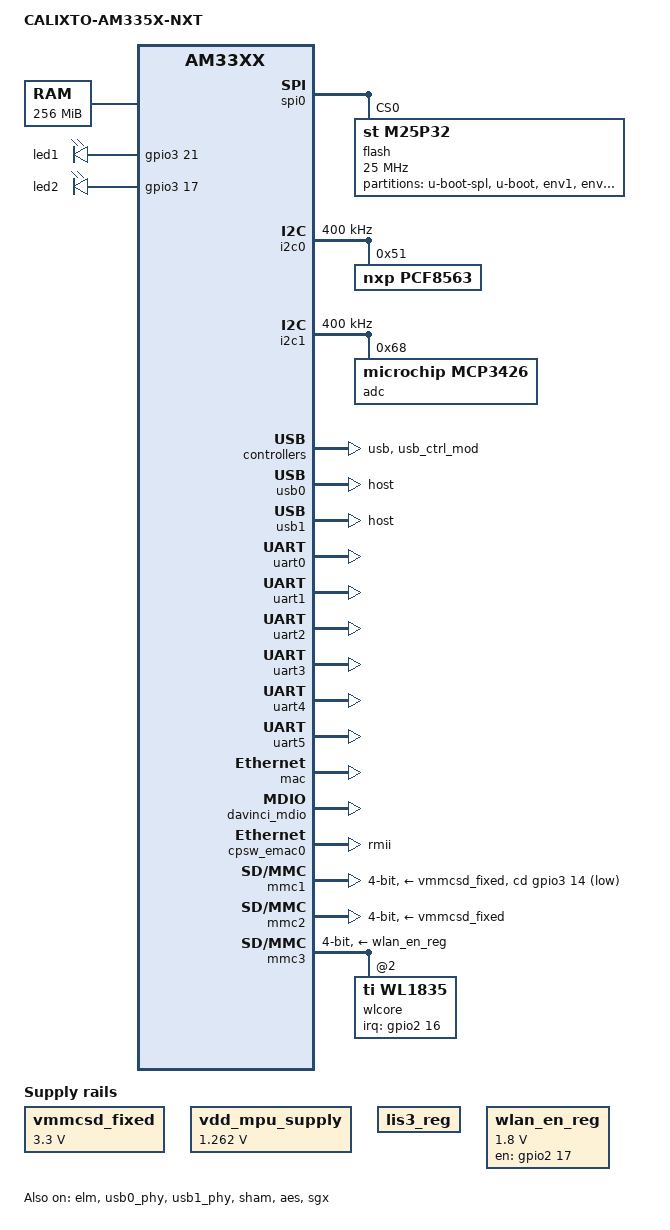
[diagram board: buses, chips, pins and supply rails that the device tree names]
/*
 * Copyright (C) 2020 Calixto Systems Pvt Ltd - http://www.calixto.com/
 *
 * This program is free software; you can redistribute it and/or modify
 * it under the terms of the GNU General Public License version 2 as
 * published by the Free Software Foundation.
 */

/*
 * AM335x CALIXTO STAMP EVM
 * http:// http://www.calixto.co.in/
 * Modified from am335x-evmsk
 * Modified by Vipin Vijayan <vipin.v@calixto.in>
 */

/dts-v1/;

#include "am33xx.dtsi"
#include <dt-bindings/pwm/pwm.h>
#include <dt-bindings/interrupt-controller/irq.h>

/ {
	model = "CALIXTO-AM335X-NXT";
	compatible = "ti,am335x-calixto-nxt", "ti,am33xx";

	cpus {
		cpu@0 {
			cpu0-supply = <&vdd_mpu_supply>;
		};
	};

	memory@80000000 {
		device_type = "memory";
		reg = <0x80000000 0x10000000>; /* 256 MB */
	};

	chosen {
		stdout-path = &uart0;
	};

	vmmcsd_fixed: fixedregulator-sd {
		compatible = "regulator-fixed";
		regulator-name = "vmmcsd_fixed";
		regulator-min-microvolt = <3300000>;
		regulator-max-microvolt = <3300000>;
		enable-active-high;
	};

	vdd_mpu_supply: fixedregulator-mpu {
		compatible = "regulator-fixed";
		regulator-name = "vdd_mpu_supply";
		regulator-min-microvolt = <1262000>;
		regulator-max-microvolt = <1262000>;
		regulator-boot-on;
	};

	lis3_reg: fixedregulator0 {
		compatible = "regulator-fixed";
		regulator-name = "lis3_reg";
		regulator-boot-on;
	};

	wlan_en_reg: fixedregulator@13 {
		compatible = "regulator-fixed";
		regulator-name = "wlan-en-regulator";
		regulator-min-microvolt = <1800000>;
		regulator-max-microvolt = <1800000>;

		/* WL_EN */
		gpio = <&gpio2 17 GPIO_ACTIVE_HIGH>;
		enable-active-high;
		
		/* startup-delay-us = <70000>; */

	};
	leds {
		pinctrl-names = "default";
		pinctrl-0 = <&user_leds_s0>;

		compatible = "gpio-leds";

		led@1 {
			label = "led1";
			gpios = <&gpio3 21 GPIO_ACTIVE_HIGH>;
			linux,default-trigger = "heartbeat";
			default-state = "on";
		};
		led@2 {
			label = "led2";
			gpios = <&gpio3 17 GPIO_ACTIVE_HIGH>;
			linux,default-trigger = "heartbeat";
			default-state = "on";
		};
	};

	gpio_buttons: gpio_buttons0 {
		compatible = "gpio-keys";
		#address-cells = <1>;
		#size-cells = <0>;

	};


};

&am33xx_pinmux {
	pinctrl-names = "default";
	pinctrl-0 = <&clkout2_pin>;

	lcd_pins_default: lcd_pins_default {
		pinctrl-single,pins = <
			AM33XX_IOPAD(0x8a0, PIN_OUTPUT | MUX_MODE0)	/* lcd_data0.lcd_data0 */
			AM33XX_IOPAD(0x8a4, PIN_OUTPUT | MUX_MODE0)	/* lcd_data1.lcd_data1 */
			AM33XX_IOPAD(0x8a8, PIN_OUTPUT | MUX_MODE0)	/* lcd_data2.lcd_data2 */
			AM33XX_IOPAD(0x8ac, PIN_OUTPUT | MUX_MODE0)	/* lcd_data3.lcd_data3 */
			AM33XX_IOPAD(0x8b0, PIN_OUTPUT | MUX_MODE0)	/* lcd_data4.lcd_data4 */
			AM33XX_IOPAD(0x8b4, PIN_OUTPUT | MUX_MODE0)	/* lcd_data5.lcd_data5 */
			AM33XX_IOPAD(0x8b8, PIN_OUTPUT | MUX_MODE0)	/* lcd_data6.lcd_data6 */
			AM33XX_IOPAD(0x8bc, PIN_OUTPUT | MUX_MODE0)	/* lcd_data7.lcd_data7 */
			AM33XX_IOPAD(0x8c0, PIN_OUTPUT | MUX_MODE0)	/* lcd_data8.lcd_data8 */
			AM33XX_IOPAD(0x8c4, PIN_OUTPUT | MUX_MODE0)	/* lcd_data9.lcd_data9 */
			AM33XX_IOPAD(0x8c8, PIN_OUTPUT | MUX_MODE0)	/* lcd_data10.lcd_data10 */
			AM33XX_IOPAD(0x8cc, PIN_OUTPUT | MUX_MODE0)	/* lcd_data11.lcd_data11 */
			AM33XX_IOPAD(0x8d0, PIN_OUTPUT | MUX_MODE0)	/* lcd_data12.lcd_data12 */
			AM33XX_IOPAD(0x8d4, PIN_OUTPUT | MUX_MODE0)	/* lcd_data13.lcd_data13 */
			AM33XX_IOPAD(0x8d8, PIN_OUTPUT | MUX_MODE0)	/* lcd_data14.lcd_data14 */
			AM33XX_IOPAD(0x8dc, PIN_OUTPUT | MUX_MODE0)	/* lcd_data15.lcd_data15 */
			AM33XX_IOPAD(0x8e0, PIN_OUTPUT | MUX_MODE0)	/* lcd_vsync.lcd_vsync */
			AM33XX_IOPAD(0x8e4, PIN_OUTPUT | MUX_MODE0)	/* lcd_hsync.lcd_hsync */
			AM33XX_IOPAD(0x8e8, PIN_OUTPUT | MUX_MODE0)	/* lcd_pclk.lcd_pclk */
			AM33XX_IOPAD(0x8ec, PIN_OUTPUT | MUX_MODE0)	/* lcd_ac_bias_en.lcd_ac_bias_en */
		>;
	};

	lcd_pins_sleep: lcd_pins_sleep {
		pinctrl-single,pins = <
			AM33XX_IOPAD(0x8a0, PULL_DISABLE | MUX_MODE7)	/* lcd_data0.lcd_data0 */
			AM33XX_IOPAD(0x8a4, PULL_DISABLE | MUX_MODE7)	/* lcd_data1.lcd_data1 */
			AM33XX_IOPAD(0x8a8, PULL_DISABLE | MUX_MODE7)	/* lcd_data2.lcd_data2 */
			AM33XX_IOPAD(0x8ac, PULL_DISABLE | MUX_MODE7)	/* lcd_data3.lcd_data3 */
			AM33XX_IOPAD(0x8b0, PULL_DISABLE | MUX_MODE7)	/* lcd_data4.lcd_data4 */
			AM33XX_IOPAD(0x8b4, PULL_DISABLE | MUX_MODE7)	/* lcd_data5.lcd_data5 */
			AM33XX_IOPAD(0x8b8, PULL_DISABLE | MUX_MODE7)	/* lcd_data6.lcd_data6 */
			AM33XX_IOPAD(0x8bc, PULL_DISABLE | MUX_MODE7)	/* lcd_data7.lcd_data7 */
			AM33XX_IOPAD(0x8c0, PULL_DISABLE | MUX_MODE7)	/* lcd_data8.lcd_data8 */
			AM33XX_IOPAD(0x8c4, PULL_DISABLE | MUX_MODE7)	/* lcd_data9.lcd_data9 */
			AM33XX_IOPAD(0x8c8, PULL_DISABLE | MUX_MODE7)	/* lcd_data10.lcd_data10 */
			AM33XX_IOPAD(0x8cc, PULL_DISABLE | MUX_MODE7)	/* lcd_data11.lcd_data11 */
			AM33XX_IOPAD(0x8d0, PULL_DISABLE | MUX_MODE7)	/* lcd_data12.lcd_data12 */
			AM33XX_IOPAD(0x8d4, PULL_DISABLE | MUX_MODE7)	/* lcd_data13.lcd_data13 */
			AM33XX_IOPAD(0x8d8, PULL_DISABLE | MUX_MODE7)	/* lcd_data14.lcd_data14 */
			AM33XX_IOPAD(0x8dc, PULL_DISABLE | MUX_MODE7)	/* lcd_data15.lcd_data15 */
			AM33XX_IOPAD(0x8e0, PIN_INPUT_PULLDOWN | MUX_MODE7)	/* lcd_vsync.lcd_vsync */
			AM33XX_IOPAD(0x8e4, PIN_INPUT_PULLDOWN | MUX_MODE7)	/* lcd_hsync.lcd_hsync */
			AM33XX_IOPAD(0x8e8, PIN_INPUT_PULLDOWN | MUX_MODE7)	/* lcd_pclk.lcd_pclk */
			AM33XX_IOPAD(0x8ec, PIN_INPUT_PULLDOWN | MUX_MODE7)	/* lcd_ac_bias_en.lcd_ac_bias_en */
		>;
	};


	user_leds_s0: user_leds_s0 {
		pinctrl-single,pins = <
			AM33XX_IOPAD(0x994, PIN_OUTPUT_PULLDOWN | MUX_MODE7)	/* (B13) mcasp0_fsx.gpio3[15] 3.7V EN*/
			AM33XX_IOPAD(0x99C, PIN_OUTPUT_PULLDOWN | MUX_MODE7)	/* (C12) mcasp0_ahclkr.gpio3[17] LED2*/
			AM33XX_IOPAD(0x9AC, PIN_OUTPUT_PULLDOWN | MUX_MODE7)	/* (A14) mcasp0_ahclkx.gpio3[21] LED1*/
			AM33XX_IOPAD(0x8E0, PIN_OUTPUT_PULLDOWN | MUX_MODE7)	/* (U5) lcd_vsync.gpio2[22] Relay 1*/
			AM33XX_IOPAD(0x8E4, PIN_OUTPUT_PULLDOWN | MUX_MODE7)	/* (R5) lcd_hsync.gpio2[23] Relay 2*/

		>;
	};

	gpio_keys_s0: gpio_keys_s0 {
		pinctrl-single,pins = <
			AM33XX_IOPAD(0x894, PIN_INPUT_PULLDOWN | MUX_MODE7)	/* gpmc_oen_ren.gpio2_3 */

		>;
	};

	i2c0_pins: pinmux_i2c0_pins {
		pinctrl-single,pins = <
			AM33XX_IOPAD(0x988, PIN_INPUT_PULLUP | MUX_MODE0)	/* i2c0_sda.i2c0_sda */
			AM33XX_IOPAD(0x98c, PIN_INPUT_PULLUP | MUX_MODE0)	/* i2c0_scl.i2c0_scl */
			AM33XX_IOPAD(0x934, PIN_INPUT | MUX_MODE7)	       /* (L17) gmii1_rxd3.gpio2[18] */
		>;
	};

	i2c1_pins: pinmux_i2c1_pins {
		pinctrl-single,pins = <
			AM33XX_IOPAD(0x96C, PIN_INPUT_PULLUP | MUX_MODE0)  /* (E17) uart0_rtsn.I2C1_SCL */
			AM33XX_IOPAD(0x968, PIN_INPUT_PULLUP | MUX_MODE0) /* (E18) uart0_ctsn.I2C1_SDA */
		>;
	};


	spi0_pins: pinmux_spi0_pins {
		pinctrl-single,pins = <
			AM33XX_IOPAD(0x950, PIN_INPUT_PULLUP | MUX_MODE0 ) /* (A17) spi0_sclk.spi0_sclk */
			AM33XX_IOPAD(0x954, PIN_INPUT_PULLUP | MUX_MODE0 ) /* (B17) spi0_d0.spi0_d0 */
			AM33XX_IOPAD(0x958, PIN_OUTPUT_PULLUP | MUX_MODE0 ) /* (B16) spi0_d1.spi0_d1 */
			AM33XX_IOPAD(0x95c, PIN_OUTPUT_PULLUP | MUX_MODE0 ) /* (A16) spi0_cs0.spi0_cs0 */
		>;
	};

	uart0_pins: pinmux_uart0_pins {
		pinctrl-single,pins = <
			AM33XX_IOPAD(0x970, PIN_INPUT_PULLUP | MUX_MODE0)	/* uart0_rxd.uart0_rxd */
			AM33XX_IOPAD(0x974, PIN_OUTPUT_PULLDOWN | MUX_MODE0)	/* uart0_txd.uart0_txd */
		>;
	};

	uart1_pins: pinmux_uart1_pins {
		pinctrl-single,pins = <
			AM33XX_IOPAD(0x980, PIN_INPUT_PULLUP    | MUX_MODE0 ) 	  /* (D16) uart1_rxd.uart1_rxd */
			AM33XX_IOPAD(0x984, PIN_OUTPUT_PULLDOWN | MUX_MODE0 ) /* (D15) uart1_txd.uart1_txd */
			AM33XX_IOPAD(0x978, PIN_INPUT_PULLUP    | MUX_MODE0 )    /* (D18) uart1_ctsn.uart1_ctsn */
			AM33XX_IOPAD(0x97c, PIN_OUTPUT_PULLDOWN | MUX_MODE0 ) /* (D17) uart1_rtsn.uart1_rtsn */
			AM33XX_IOPAD(0x9a0, PIN_OUTPUT_PULLDOWN | MUX_MODE7 ) /* (B12) mcasp0_aclkr.gpio3[18] 3G RESET*/
			AM33XX_IOPAD(0x8d0, PIN_OUTPUT_PULLDOWN | MUX_MODE7 )  /* (V2) lcd_data12.gpio0[8] 3G ON-OFF*/
		>;
	};

	uart2_pins: pinmux_uart2_pins {
		pinctrl-single,pins = <
			AM33XX_IOPAD(0x92c, PIN_INPUT_PULLUP | MUX_MODE1 )    /* (K18) gmii1_txclk.uart2_rxd RS232_1_RX*/
			AM33XX_IOPAD(0x930, PIN_OUTPUT_PULLDOWN | MUX_MODE1 ) /* (L18) gmii1_rxclk.uart2_txd RS232_1_TX*/
		>;
	};

	uart3_pins: pinmux_uart3_pins {
		pinctrl-single,pins = <
			AM33XX_IOPAD(0x960, PIN_INPUT_PULLUP | MUX_MODE1 )    /* (C15) spi0_cs1.uart3_rxd   RS485_1_RX*/
			AM33XX_IOPAD(0x938, PIN_OUTPUT_PULLDOWN | MUX_MODE1 ) /* (L16) gmii1_rxd2.uart3_txd RS485_1_TX*/
		>;
	};

	uart4_pins: pinmux_uart4_pins {
		pinctrl-single,pins = <
			AM33XX_IOPAD(0x91c, PIN_INPUT_PULLUP | MUX_MODE3 )    /* (J18) gmii1_txd3.uart4_rxd RS485_2_RX*/
			AM33XX_IOPAD(0x920, PIN_OUTPUT_PULLDOWN | MUX_MODE3 ) /* (K15) gmii1_txd2.uart4_txd RS485_2_TX*/
		>;
	};

	uart5_pins: pinmux_uart5_pins {
		pinctrl-single,pins = <
			AM33XX_IOPAD(0x8c4, PIN_INPUT_PULLUP | MUX_MODE4 )    /* (U2) lcd_data9.uart5_rxd RS232_2_RX*/
			AM33XX_IOPAD(0x8c0, PIN_OUTPUT_PULLDOWN | MUX_MODE4 ) /* (U1) lcd_data8.uart5_txd RS232_2_TX*/
		>;
	};

	clkout2_pin: pinmux_clkout2_pin {
		pinctrl-single,pins = <
			AM33XX_IOPAD(0x9b4, PIN_OUTPUT_PULLDOWN | MUX_MODE3)	/* xdma_event_intr1.clkout2 */
		>;
	};


	cpsw_default: cpsw_default {
		pinctrl-single,pins = <
			/* Slave 1 */
			/* Slave 1 */
			AM33XX_IOPAD(0x90c, PIN_INPUT_PULLDOWN  | MUX_MODE1)  /* mii1_crs.rmii1_crs_dv */
			AM33XX_IOPAD(0x910, PIN_INPUT_PULLDOWN  | MUX_MODE1)  /* mii1_rxerr.mii1_rxerr */
			AM33XX_IOPAD(0x914, PIN_OUTPUT_PULLDOWN | MUX_MODE1)  /* mii1_txen.mii1_txen   */
			AM33XX_IOPAD(0x924, PIN_OUTPUT_PULLDOWN | MUX_MODE1)  /* mii1_txd1.mii1_txd1   */
			AM33XX_IOPAD(0x928, PIN_OUTPUT_PULLDOWN | MUX_MODE1)  /* mii1_txd0.mii1_txd0   */
			AM33XX_IOPAD(0x93c, PIN_INPUT_PULLDOWN  | MUX_MODE1)  /* mii1_rxd1.mii1_rxd2   */
			AM33XX_IOPAD(0x940, PIN_INPUT_PULLDOWN  | MUX_MODE1)  /* mii1_rxd0.mii1_rxd0   */
			AM33XX_IOPAD(0x944, PIN_INPUT_PULLDOWN  | MUX_MODE0)  /* rmii1_refclk.rmii1_refclk */
		>;
	};

	cpsw_sleep: cpsw_sleep {
		pinctrl-single,pins = <
			/* Slave 1 reset value */
			AM33XX_IOPAD(0x90c, PIN_INPUT_PULLDOWN | MUX_MODE7)
			AM33XX_IOPAD(0x910, PIN_INPUT_PULLDOWN | MUX_MODE7)
			AM33XX_IOPAD(0x914, PIN_INPUT_PULLDOWN | MUX_MODE7)
			AM33XX_IOPAD(0x924, PIN_INPUT_PULLDOWN | MUX_MODE7)
			AM33XX_IOPAD(0x928, PIN_INPUT_PULLDOWN | MUX_MODE7)
			AM33XX_IOPAD(0x93c, PIN_INPUT_PULLDOWN | MUX_MODE7)
			AM33XX_IOPAD(0x940, PIN_INPUT_PULLDOWN | MUX_MODE7)
			AM33XX_IOPAD(0x944, PIN_INPUT_PULLDOWN | MUX_MODE7)
		>;
	};

	davinci_mdio_default: davinci_mdio_default {
		pinctrl-single,pins = <
			/* MDIO */
			AM33XX_IOPAD(0x948, PIN_INPUT_PULLUP | SLEWCTRL_FAST | MUX_MODE0)	/* mdio_data.mdio_data */
			AM33XX_IOPAD(0x94c, PIN_OUTPUT_PULLUP | MUX_MODE0)			/* mdio_clk.mdio_clk */
		>;
	};

	davinci_mdio_sleep: davinci_mdio_sleep {
		pinctrl-single,pins = <
			/* MDIO reset value */
			AM33XX_IOPAD(0x948, PIN_INPUT_PULLDOWN | MUX_MODE7)
			AM33XX_IOPAD(0x94c, PIN_INPUT_PULLDOWN | MUX_MODE7)
		>;
	};

	mmc1_pins_default: pinmux_mmc1_pins {
		pinctrl-single,pins = <
			AM33XX_IOPAD(0x8F0, PIN_INPUT_PULLUP | MUX_MODE0)    /* mmc0_dat3.mmc0_dat3 */
			AM33XX_IOPAD(0x8F4, PIN_INPUT_PULLUP | MUX_MODE0)    /* mmc0_dat2.mmc0_dat2 */
			AM33XX_IOPAD(0x8F8, PIN_INPUT_PULLUP | MUX_MODE0)    /* mmc0_dat1.mmc0_dat1 */
			AM33XX_IOPAD(0x8FC, PIN_INPUT_PULLUP | MUX_MODE0)    /* mmc0_dat0.mmc0_dat0 */
			AM33XX_IOPAD(0x900, PIN_INPUT_PULLUP | MUX_MODE0)    /* mmc0_clk.mmc0_clk */
			AM33XX_IOPAD(0x904, PIN_INPUT_PULLUP | MUX_MODE0)    /* mmc0_cmd.mmc0_cmd */
		/*	AM33XX_IOPAD(0x990, PIN_INPUT | MUX_MODE7) 	*/	/* mcasp0_aclkx.gpio3_14 */
		>;
	};	

	mmc1_pins_sleep: pinmux_mmc1_pins_sleep {
		pinctrl-single,pins = <
			AM33XX_IOPAD(0x8F0, PIN_INPUT_PULLDOWN | MUX_MODE7)
			AM33XX_IOPAD(0x8F4, PIN_INPUT_PULLDOWN | MUX_MODE7)
			AM33XX_IOPAD(0x8F8, PIN_INPUT_PULLDOWN | MUX_MODE7)
			AM33XX_IOPAD(0x8FC, PIN_INPUT_PULLDOWN | MUX_MODE7)
			AM33XX_IOPAD(0x900, PIN_INPUT_PULLDOWN | MUX_MODE7)
			AM33XX_IOPAD(0x904, PIN_INPUT_PULLDOWN | MUX_MODE7)
			AM33XX_IOPAD(0x990, PIN_INPUT_PULLDOWN | MUX_MODE7)
		>;
	};

	emmc_pins: pinmux_emmc_pins {
		pinctrl-single,pins = <
			AM33XX_IOPAD(0x880, PIN_INPUT_PULLUP | MUX_MODE2 ) /* (U9) gpmc_csn1.mmc1_clk */
			AM33XX_IOPAD(0x884, PIN_INPUT_PULLUP | MUX_MODE2 ) /* (V9) gpmc_csn2.mmc1_cmd */
			AM33XX_IOPAD(0x800, PIN_INPUT_PULLUP | MUX_MODE1 ) /* (U7) gpmc_ad0.mmc1_dat0 */
			AM33XX_IOPAD(0x804, PIN_INPUT_PULLUP | MUX_MODE1 ) /* (V7) gpmc_ad1.mmc1_dat1 */
			AM33XX_IOPAD(0x808, PIN_INPUT_PULLUP | MUX_MODE1 ) /* (R8) gpmc_ad2.mmc1_dat2 */
			AM33XX_IOPAD(0x80c, PIN_INPUT_PULLUP | MUX_MODE1 ) /* (T8) gpmc_ad3.mmc1_dat3 */
		>;
	};

	mmc3_pins_default: mmc3_pins_default {
		pinctrl-single,pins = <
			AM33XX_IOPAD(0x88c, PIN_INPUT_PULLUP | MUX_MODE3 ) /* (V12) gpmc_clk.mmc2_clk */
			AM33XX_IOPAD(0x888, PIN_INPUT_PULLUP | MUX_MODE3 ) /* (T13) gpmc_csn3.mmc2_cmd */
			AM33XX_IOPAD(0x918, PIN_INPUT_PULLUP | MUX_MODE5 ) /* (J17) gmii1_rxdv.mmc2_dat0 */
			AM33XX_IOPAD(0x848, PIN_INPUT_PULLUP | MUX_MODE3 ) /* (U14) gpmc_a2.mmc2_dat1 */
			AM33XX_IOPAD(0x84c, PIN_INPUT_PULLUP | MUX_MODE3 ) /* (T14) gpmc_a3.mmc2_dat2 */
			AM33XX_IOPAD(0x908, PIN_INPUT_PULLUP | MUX_MODE5 ) /* (H16) gmii1_col.mmc2_dat3 */
		>;
	};

	mmc3_pins_sleep: mmc3_pins_sleep {
		pinctrl-single,pins = <
			AM33XX_IOPAD(0x88C, PIN_INPUT_PULLDOWN | MUX_MODE7 ) /* (V12) gpmc_clk.mmc2_clk */
			AM33XX_IOPAD(0x888, PIN_INPUT_PULLDOWN | MUX_MODE7 ) /* (T13) gpmc_csn3.mmc2_cmd */
			AM33XX_IOPAD(0x918, PIN_INPUT_PULLDOWN | MUX_MODE7 ) /* (J17) gmii1_rxdv.mmc2_dat0 */
			AM33XX_IOPAD(0x848, PIN_INPUT_PULLDOWN | MUX_MODE7 ) /* (J18) gmii1_txd3.mmc2_dat1 */
			AM33XX_IOPAD(0x84c, PIN_INPUT_PULLDOWN | MUX_MODE7 ) /* (K15) gmii1_txd2.mmc2_dat2 */
			AM33XX_IOPAD(0x908, PIN_INPUT_PULLDOWN | MUX_MODE7 ) /* (H16) gmii1_col.mmc2_dat3 */
		>;
	};

	/* wl18xx enable/irq GPIOs. */
	wlan_pins_default: wlan_pins_default {
		pinctrl-single,pins = <
			AM33XX_IOPAD(0x8c8, PIN_INPUT | MUX_MODE7 ) /* (U3) lcd_data10.gpio2[16] WLAN_IRQ*/
			AM33XX_IOPAD(0x8cc, PIN_OUTPUT | MUX_MODE7 ) /* (U4) lcd_data11.gpio2[17] WLAN_EN*/
		>;
	};

	/* wl18xx enable/irq GPIOs. */
	wlan_pins_sleep: wlan_pins_sleep {
		pinctrl-single,pins = <
			AM33XX_IOPAD(0x8c8, PIN_INPUT_PULLDOWN | MUX_MODE7  ) /* (U3) lcd_data10.gpio2[16] WLAN_IRQ */
			AM33XX_IOPAD(0x8cc, PIN_INPUT_PULLDOWN | MUX_MODE7  ) /* (U4) lcd_data11.gpio2[17] WLAN_EN  */
		>;
	};

	mcasp1_pins: mcasp1_pins {
		pinctrl-single,pins = <
			AM33XX_IOPAD(0x90c, PIN_INPUT_PULLDOWN | MUX_MODE4) /* mii1_crs.mcasp1_aclkx */
			AM33XX_IOPAD(0x910, PIN_INPUT_PULLDOWN | MUX_MODE4) /* mii1_rxerr.mcasp1_fsx */
			AM33XX_IOPAD(0x908, PIN_OUTPUT_PULLDOWN | MUX_MODE4) /* mii1_col.mcasp1_axr2 */
			AM33XX_IOPAD(0x944, PIN_INPUT_PULLDOWN | MUX_MODE4) /* rmii1_ref_clk.mcasp1_axr3 */
		>;
	};

	mcasp1_pins_sleep: mcasp1_pins_sleep {
		pinctrl-single,pins = <
			AM33XX_IOPAD(0x90c, PIN_INPUT_PULLDOWN | MUX_MODE7)
			AM33XX_IOPAD(0x910, PIN_INPUT_PULLDOWN | MUX_MODE7)
			AM33XX_IOPAD(0x908, PIN_INPUT_PULLDOWN | MUX_MODE7)
			AM33XX_IOPAD(0x944, PIN_INPUT_PULLDOWN | MUX_MODE7)
		>;
	};

      	usb0_drvvbus: usb0_drvvbus {
               	pinctrl-single,pins = <
                        AM33XX_IOPAD(0xA1C, PIN_OUTPUT_PULLUP | MUX_MODE0)
               	>;
       	};


       	usb1_drvvbus: usb1_drvvbus {
               	pinctrl-single,pins = <
                       	AM33XX_IOPAD(0xA34, PIN_OUTPUT_PULLUP | MUX_MODE0 )
               	>;
       	};

};

&elm {
	status = "okay";
};

&wkup_m3_ipc {
	ti,needs-vtt-toggle;
	ti,vtt-gpio-pin = <7>;
	ti,scale-data-fw = "am335x-evm-scale-data.bin";
};

/*
 * SPI Flash (8MiB)
 * 0x000000 - 0x01FFFF : SPL (128KiB)
 * 0x020000 - 0x09FFFF : U-Boot (512KiB)
 * 0x0A0000 - 0x0BFFFF : First copy of U-Boot Environment (128KiB)
 * 0x0C0000 - 0x0DFFFF : Second copy of U-Boot Environment (128KiB)
 * 0x0E0000 - 0x0FFFFF : device tree blob (Not used now) (128KiB)
 * 0x100000 - 0x800000 : Application data (7MiB)
 */

&spi0 {
	pinctrl-names = "default";
	pinctrl-0 = <&spi0_pins>;
	status = "okay";

	flash: n25q032@0 {
		 #address-cells = <1>;
		 #size-cells = <1>;
		 compatible = "st,m25p32";
		 spi-max-frequency = <25000000>;
		 reg = <0>;


		 partition@0 {
			 label = "u-boot-spl";
			 reg = <0x000000 0x020000>;
		 };


		 partition@1 {
			 label = "u-boot";
			 reg = <0x020000 0x080000>;
		 };

		 partition@2 {
			 label = "env1";
			 reg = <0x0A0000 0x020000>;
		 };

		 partition@3 {
			 label = "env2";
			 reg = <0x0C0000 0x020000>;
		 };
/*
		 partition@4 {
			 label = "device-tree-blob";
			 reg = <0x0E0000 0x020000>;
		 };
*/
		 partition@5 {
			 label = "app-data";
			 reg = <0x100000 0x700000>;
		 };

	};
};


&i2c0 {
	pinctrl-names = "default";
	pinctrl-0 = <&i2c0_pins>;
	status = "okay";
	clock-frequency = <400000>;

	pcf8563: pcf8563@51 {
		compatible = "nxp,pcf8563";
		reg = <0x51>;
	};

};

&i2c1 {
	pinctrl-names = "default";
	pinctrl-0 = <&i2c1_pins>;
	status = "okay";
	clock-frequency = <400000>;

	adc@0 {
		compatible = "microchip,mcp3426";
		reg = <0x68>;
	};

	/*mcp3422: mcp3422@68 {*/
	/*	compatible = "mcp,mcp3422";*/
	/*	reg = <0x68>;*/
	/*};*/	

};

&usb {
	status = "okay";
};

&usb_ctrl_mod {
	status = "okay";
};

&usb0_phy {
	status = "okay";
};

&usb1_phy {
	status = "okay";
};

&usb0 {
        pinctrl-0 = <&usb0_drvvbus>;
	status = "okay";
	dr_mode = "host";
};

&usb1 {
	pinctrl-0 = <&usb1_drvvbus>;
	status = "okay";
	dr_mode = "host";
};

&cppi41dma  {
	status = "okay";
};

&wkup_m3_ipc {
	ti,needs-vtt-toggle;
	ti,vtt-gpio-pin = <7>;
	ti,scale-data-fw = "am335x-evm-scale-data.bin";
};


&uart0 {
        pinctrl-names = "default";
        pinctrl-0 = <&uart0_pins>;

        status = "okay";
};

&uart1 {
        pinctrl-names = "default";
        pinctrl-0 = <&uart1_pins>;

        status = "okay";
};

&uart2 {
        pinctrl-names = "default";
        pinctrl-0 = <&uart2_pins>;

        status = "okay";
};

&uart3 {
        pinctrl-names = "default";
        pinctrl-0 = <&uart3_pins>;

        status = "okay";
};

&uart4 {
        pinctrl-names = "default";
        pinctrl-0 = <&uart4_pins>;

        status = "okay";
};

&uart5 {
        pinctrl-names = "default";
        pinctrl-0 = <&uart5_pins>;

        status = "okay";
};

&mac {
	pinctrl-names = "default", "sleep";
	pinctrl-0 = <&cpsw_default>;
	pinctrl-1 = <&cpsw_sleep>;
	slaves = <1>;
	status = "okay";
};

&davinci_mdio {
	pinctrl-names = "default", "sleep";
	pinctrl-0 = <&davinci_mdio_default>;
	pinctrl-1 = <&davinci_mdio_sleep>;
	status = "okay";
};

&cpsw_emac0 {
	phy_id = <&davinci_mdio>, <0>;
	phy-mode = "rmii";
	dual_emac_res_vlan = <1>;
};

&phy_sel {
	rmii-clock-ext;
};

&mmc1 {
        status = "okay";
        vmmc-supply = <&vmmcsd_fixed>;
        bus-width = <4>;
        pinctrl-names = "default", "sleep";
        pinctrl-0 = <&mmc1_pins_default>;
        pinctrl-1 = <&mmc1_pins_sleep>;
	cd-gpios = <&gpio3 14 GPIO_ACTIVE_LOW>;
};

&mmc2 {
	status = "okay";
	pinctrl-names = "default";
	pinctrl-0 = <&emmc_pins>;
        vmmc-supply = <&vmmcsd_fixed>;
	bus-width = <4>;
	ti,non-removable;
};

&mmc3 {
	status = "okay";
	vmmc-supply = <&wlan_en_reg>;
	bus-width = <4>;
	pinctrl-names = "default" , "sleep" ;
	pinctrl-0 = <&mmc3_pins_default &wlan_pins_default>;
	pinctrl-1 = <&mmc3_pins_sleep &wlan_pins_sleep>;
	ti,non-removable;
	ti,needs-special-hs-handling;
	cap-power-off-card;
	keep-power-in-suspend;

	#address-cells = <1>;
	#size-cells = <0>;

        dmas = <&edma_xbar 12 0 1
                &edma_xbar 13 0 2>;
        dma-names = "tx", "rx";

	wlcore: wlcore@0 {
		compatible = "ti,wl1835";
		reg = <2>;
		interrupt-parent = <&gpio2>;
		interrupts = <16 IRQ_TYPE_EDGE_RISING>;
	};
};

&sham {
	status = "okay";
};

&aes {
	status = "okay";
};

&gpio0 {
	ti,no-reset-on-init;
};

&sgx {
	status = "okay";
};

&rtc {
	clocks = <&clk_32768_ck>, <&l4_per_clkctrl AM3_CLKDIV32K_CLKCTRL 0>;
	clock-names = "ext-clk", "int-clk";
};


